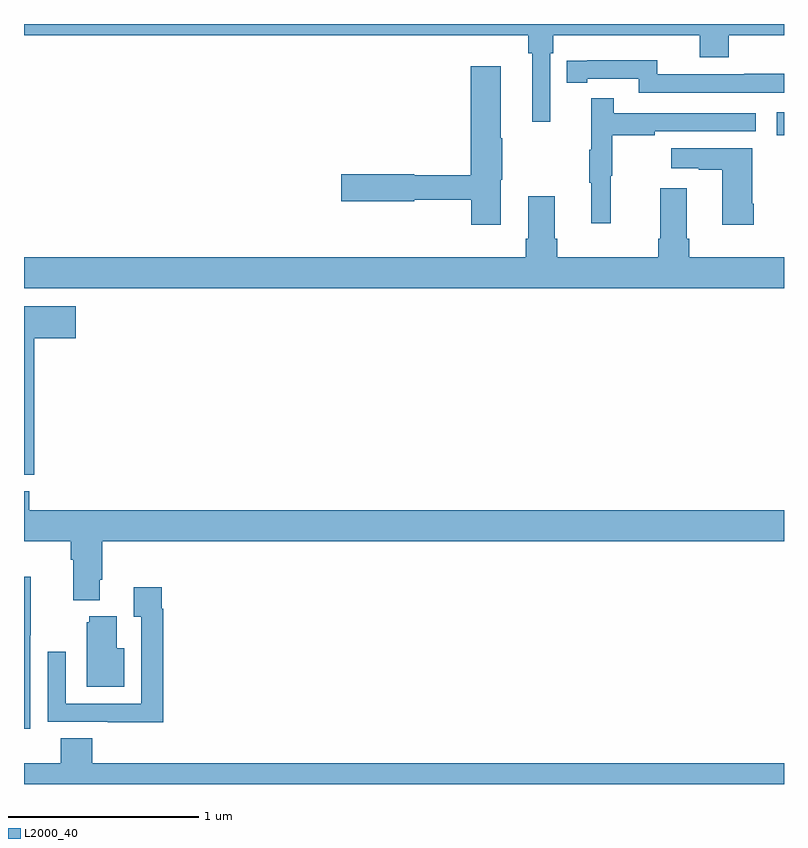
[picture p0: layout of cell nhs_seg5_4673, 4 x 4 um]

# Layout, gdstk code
import gdstk
lib = gdstk.Library(unit=1e-6, precision=1e-09)
def R(c, l, rs):  # rectangles x0, y0, x1, y1
    for r in rs: c.add(gdstk.rectangle(r[:2], r[2:], *l))
def P(c, l, *ps):  # polygons
    for p in ps: c.add(gdstk.Polygon(p, *l))
L2000_40 = (2000, 40)

nhs_seg5_4673 = lib.new_cell('nhs_seg5_4673')
R(nhs_seg5_4673, L2000_40, [(388.962,876.213,389,876.334)])
P(nhs_seg5_4673, L2000_40, [(387.771,876.644),(387.785,876.644),(387.785,876.74),(388.556,876.74),(388.556,876.623),(388.709,876.623),(388.709,876.74),(389,876.74),(389,876.799),(385,876.799),(385,876.74),(387.655,876.74),(387.655,876.644),(387.674,876.644),(387.674,876.285),(387.771,876.285)],
  [(389,876.536),(388.792,876.536),(388.792,876.534),(388.332,876.534),(388.332,876.607),(387.964,876.607),(387.964,876.606),(387.856,876.606),(387.856,876.49),(387.964,876.49),(387.964,876.51),(388.236,876.51),(388.236,876.438),(389,876.438)],
  [(387.508,875.979),(387.516,875.979),(387.516,876.197),(387.508,876.197),(387.508,876.577),(387.35,876.577),(387.35,876.002),(387.054,876.002),(387.054,876.008),(386.67,876.008),(386.67,875.866),(387.054,875.866),(387.054,875.874),(387.355,875.874),(387.355,875.742),(387.508,875.742)],
  [(388.088,876),(388.096,876),(388.096,876.214),(388.319,876.214),(388.319,876.234),(388.852,876.234),(388.852,876.33),(388.103,876.33),(388.103,876.409),(387.986,876.409),(387.986,876.137),(387.975,876.137),(387.975,875.963),(387.986,875.963),(387.986,875.751),(388.088,875.751)],
  [(388.842,875.854),(388.834,875.854),(388.834,876.145),(388.407,876.145),(388.407,876.041),(388.55,876.041),(388.55,876.031),(388.676,876.031),(388.676,875.742),(388.842,875.742)],
  [(389,875.572),(388.502,875.572),(388.502,875.668),(388.489,875.668),(388.489,875.935),(388.349,875.935),(388.349,875.668),(388.337,875.668),(388.337,875.572),(387.806,875.572),(387.806,875.668),(387.793,875.668),(387.793,875.893),(387.653,875.893),(387.653,875.668),(387.641,875.668),(387.641,875.572),(385,875.572),(385,875.408),(389,875.408)],
  [(385.055,875.144),(385.273,875.144),(385.273,875.314),(385,875.314),(385,874.427),(385.055,874.427)],
  [(385.399,873.874),(385.412,873.874),(385.412,874.076),(389,874.076),(389,874.24),(385.028,874.24),(385.028,874.339),(385,874.339),(385,874.076),(385.247,874.076),(385.247,873.98),(385.259,873.98),(385.259,873.767),(385.399,873.767)],
  [(385.032,873.583),(385.035,873.583),(385.035,873.89),(385,873.89),(385,873.09),(385.032,873.09)],
  [(385.733,873.722),(385.726,873.722),(385.726,873.835),(385.577,873.835),(385.577,873.679),(385.617,873.679),(385.617,873.222),(385.221,873.222),(385.221,873.496),(385.125,873.496),(385.125,873.126),(385.441,873.126),(385.441,873.125),(385.733,873.125)],
  [(385.528,873.514),(385.489,873.514),(385.489,873.682),(385.343,873.682),(385.343,873.651),(385.331,873.651),(385.331,873.311),(385.528,873.311)],
  [(389,872.908),(385.358,872.908),(385.358,873.041),(385.193,873.041),(385.193,872.908),(385,872.908),(385,872.799),(389,872.799)])

lib.write_gds('nhs_seg5_4673.gds')
